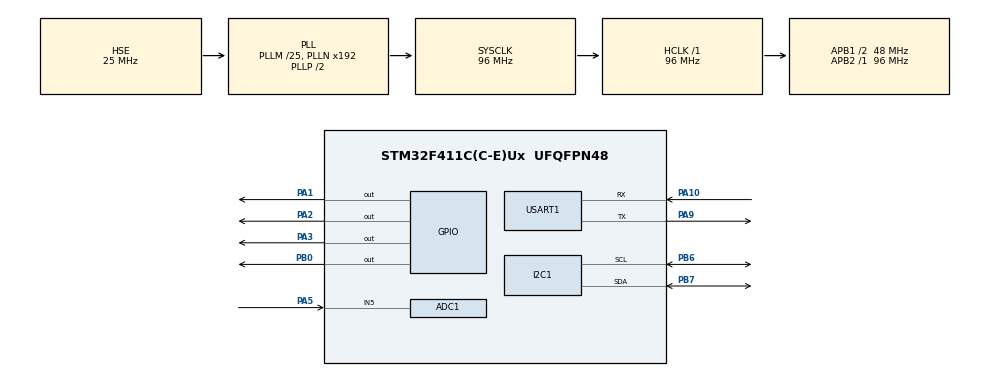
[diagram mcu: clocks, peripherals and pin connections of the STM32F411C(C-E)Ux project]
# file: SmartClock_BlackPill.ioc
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ADC1.Channel-0\#ChannelRegularConversion=ADC_CHANNEL_5
ADC1.NbrOfConversionFlag=1
ADC1.Rank-0\#ChannelRegularConversion=1
ADC1.SamplingTime-0\#ChannelRegularConversion=ADC_SAMPLETIME_480CYCLES
ADC1.master=1
I2C1.I2C_Mode=I2C_Fast
Mcu.Family=STM32F4
Mcu.Name=STM32F411C(C-E)Ux
Mcu.Package=UFQFPN48
NVIC.PriorityGroup=NVIC_PRIORITYGROUP_4
NVIC.TIM1_UP_TIM10_IRQn=true\:0\:0\:true\:false\:true\:true\:true\:true
PA1.Signal=GPIO_Output
PA10.Mode=Asynchronous
PA10.Signal=USART1_RX
PA2.Signal=GPIO_Output
PA3.Signal=GPIO_Output
PA5.Signal=ADCx_IN5
PA9.Mode=Asynchronous
PA9.Signal=USART1_TX
PB0.Signal=GPIO_Output
PB6.Mode=I2C
PB6.Signal=I2C1_SCL
PB7.Mode=I2C
PB7.Signal=I2C1_SDA
PH0\ -\ OSC_IN.Mode=HSE-External-Oscillator
PH0\ -\ OSC_IN.Signal=RCC_OSC_IN
PH1\ -\ OSC_OUT.Mode=HSE-External-Oscillator
PH1\ -\ OSC_OUT.Signal=RCC_OSC_OUT
ProjectManager.HeapSize=0x200
ProjectManager.StackSize=0x400
ProjectManager.TargetToolchain=STM32CubeIDE
RCC.48MHZClocksFreq_Value=48000000
RCC.AHBFreq_Value=96000000
RCC.APB1CLKDivider=RCC_HCLK_DIV2
RCC.APB1Freq_Value=48000000
RCC.APB1TimFreq_Value=96000000
RCC.APB2Freq_Value=96000000
RCC.APB2TimFreq_Value=96000000
RCC.CortexFreq_Value=96000000
RCC.HCLKFreq_Value=96000000
RCC.HSE_VALUE=25000000
RCC.HSI_VALUE=16000000
RCC.LSE_VALUE=32768
RCC.PLLM=25
RCC.PLLSourceVirtual=RCC_PLLSOURCE_HSE
RCC.SYSCLKFreq_VALUE=96000000
RCC.SYSCLKSource=RCC_SYSCLKSOURCE_PLLCLK
RCC.VCOOutputFreq_Value=192000000
SH.ADCx_IN5.0=ADC1_IN5,IN5
TIM10.Period=\ 1999
TIM10.Prescaler=95
USART1.VirtualMode=VM_ASYNC
VP_TIM10_VS_ClockSourceINT.Mode=Enable_Timer
board=custom

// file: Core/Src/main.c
/* USER CODE BEGIN Header */
/**
 ******************************************************************************
 * @file           : main.c
 * @brief          : Main program body
 ******************************************************************************
 * @attention
 *
 * Copyright (c) 2026 STMicroelectronics.
 * All rights reserved.
 *
 * This software is licensed under terms that can be found in the LICENSE file
 * in the root directory of this software component.
 * If no LICENSE file comes with this software, it is provided AS-IS.
 *
 ******************************************************************************
 */
/* USER CODE END Header */
#include "main.h"
#include "adc.h"
#include "i2c.h"
#include "tim.h"
#include "usart.h"
#include "gpio.h"

/* USER CODE BEGIN Includes */

#include "sensors.h"
#include "led_display.h"
#include "oled.h"
#include "menu.h"
#include "alarm.h"
#include "wifi.h"
#include "radio.h"
#include "led_menu.h"
#include <stdio.h>
#include <string.h>

/* USER CODE END Includes */

void SystemClock_Config(void);

/* USER CODE BEGIN 0 */

/* --- Battery level (PA5 / ADC1_IN5) --------------------------------------
 R1/R2 100k/100k divider off the raw battery net (B+/B-, tapped before
 the LX-2's boost converter) halves Vbat into ADC range, C1 100nF buffers
 the divider's high source impedance for the sample. Voltage->percent
 isn't linear for Li-ion, so it's a piecewise-linear fit over a measured
 discharge curve instead of a straight scale.

 BATTERY_CAL_SCALE corrects for real-board error the raw formula can't
 know about (R1/R2 tolerance, actual Vref vs the assumed 3.3V) - measured
 once against a multimeter: board read 3.20V computed while the pack was
 actually at 3.57V, so scale = 3.57 / 3.20. Re-measure and update this if
 R1/R2 ever get swapped for a different pair. */
#define BATTERY_CAL_SCALE 1.115f

static uint8_t battery_read_percent(void)
{
	static const struct {
		float v;
		uint8_t pct;
	} curve[] = { { 4.20f, 100 }, { 4.10f, 90 }, { 4.00f, 80 }, { 3.90f, 70 }, {
			3.80f, 60 }, { 3.70f, 45 }, { 3.60f, 25 }, { 3.50f, 15 },
			{ 3.30f, 5 }, { 3.20f, 0 }, };
	const int n = sizeof(curve) / sizeof(curve[0]);

	/* Average 16 samples instead of trusting a single conversion - the
	 divider's high source impedance makes one-shot readings noisy enough
	 to visibly jitter the displayed percent by a couple of points. */
	uint32_t sum = 0;
	for (int i = 0; i < 16; i++)
	{
		HAL_ADC_Start(&hadc1);
		HAL_StatusTypeDef status = HAL_ADC_PollForConversion(&hadc1, 10);
		sum += (status == HAL_OK) ? HAL_ADC_GetValue(&hadc1) : 0;
		HAL_ADC_Stop(&hadc1);
	}
	uint32_t raw = sum / 16;

	float v_bat = (raw / 4095.0f) * 3.3f * 2.0f * BATTERY_CAL_SCALE;

	if (v_bat >= curve[0].v)
		return curve[0].pct;
	if (v_bat <= curve[n - 1].v)
		return curve[n - 1].pct;

	for (int i = 0; i < n - 1; i++)
	{
		if (v_bat <= curve[i].v && v_bat >= curve[i + 1].v)
		{
			float span_v = curve[i].v - curve[i + 1].v;
			float span_p = (float) curve[i].pct - (float) curve[i + 1].pct;
			float frac = (v_bat - curve[i + 1].v) / span_v;
			return (uint8_t) (curve[i + 1].pct + frac * span_p);
		}
	}
	return 0;
}

/* --- Incoming link from ESP32 (TIME:/STATUS: lines) ---------------------
 USART1's NVIC interrupt wasn't enabled when USART1 was generated via
 CubeMX, so RX is polled from the main loop instead of interrupt-driven -
 same non-blocking style as everything else here. */

static void esp32_handle_line(const char *line)
{
	if (strncmp(line, "TIME:", 5) == 0)
	{
		int year, month, day, h, m, s;

		if (sscanf(line + 5, "%d-%d-%dT%d:%d:%d", &year, &month, &day, &h, &m,
				&s) == 6)
		{
			/* Sync the RTC once, right after boot - DS3231 has its own
			 crystal and battery backup, it doesn't need per-second
			 correction, just an initial anchor to real time. */
			static uint8_t rtc_synced = 0;

			if (!rtc_synced)
			{
				time_set((uint8_t) h, (uint8_t) m, (uint8_t) day,
						(uint8_t) month, (uint8_t) (year % 100));
				rtc_synced = 1;
			}
		}
	} else if (strncmp(line, "SETTIME:", 8) == 0)
	{
		/* Manual override from the ESP32 setup webpage's Date & Time card -
		 unlike TIME: above, this applies every time it arrives, not just
		 once, since the user might deliberately correct the clock again
		 later. */
		int year, month, day, h, m, s;

		if (sscanf(line + 8, "%d-%d-%dT%d:%d:%d", &year, &month, &day, &h,
				&m, &s) == 6)
		{
			time_set((uint8_t) h, (uint8_t) m, (uint8_t) day,
					(uint8_t) month, (uint8_t) (year % 100));
		}
	} else if (strncmp(line, "STATUS:", 7) == 0)
	{
		/* "WIFI_OK,RADIO_PLAY,<ssid>" or "WIFI_DOWN,RADIO_STOP," (ssid
		 empty while disconnected) - feeds the WiFi submenu's Status entry. */
		char wifi_state[16] = "";
		char radio_state[16] = "";
		char ssid_buf[32] = "";

		sscanf(line + 7, "%15[^,],%15[^,],%31[^\n]", wifi_state, radio_state,
				ssid_buf);

		wifi_connected_set(strcmp(wifi_state, "WIFI_OK") == 0);
		wifi_ssid_set(ssid_buf);
		radio_playing_set(strcmp(radio_state, "RADIO_PLAY") == 0);
	} else if (strncmp(line, "EQ:", 3) == 0)
	{
		int l0, l1, l2, l3;

		if (sscanf(line + 3, "%d,%d,%d,%d", &l0, &l1, &l2, &l3) == 4)
		{
			eq_level_set(0, (uint8_t) l0);
			eq_level_set(1, (uint8_t) l1);
			eq_level_set(2, (uint8_t) l2);
			eq_level_set(3, (uint8_t) l3);
		}
	} else if (strncmp(line, "SETUP_MODE:", 11) == 0)
	{
		uint8_t on = (uint8_t) (line[11] == '1');
		wifi_setup_mode_set(on);

		if (on)
		{
			/* ESP32 stops sending STATUS:/EQ: entirely while its own
			   loop() is busy running the setup AP - without this, WiFi/
			   radio state here would just stay frozen at whatever it was
			   right before setup mode started instead of reflecting
			   reality (nothing is connected or playing right now). */
			wifi_connected_set(0);
			radio_playing_set(0);
		}
	}
}

static void esp32_uart_poll(void)
{
	static char rx_line[40];
	static uint8_t rx_len = 0;

	if (__HAL_UART_GET_FLAG(&huart1, UART_FLAG_RXNE))
	{
		uint8_t c = (uint8_t) (huart1.Instance->DR & 0xFF);

		if (c == '\n')
		{
			rx_line[rx_len] = '\0';
			esp32_handle_line(rx_line);
			rx_len = 0;
		} else if (rx_len < sizeof(rx_line) - 1)
		{
			rx_line[rx_len++] = (char) c;
		}
		/* line too long - drop silently, rx_len stops growing until '\n' */
	}
}

void gpio_init(void)
{
	led_display_init();
}

/* USER CODE END 0 */

int main(void)
{

	/* MCU Configuration--------------------------------------------------------*/

	/* Reset of all peripherals, Initializes the Flash interface and the Systick. */
	HAL_Init();

	/* Configure the system clock */
	SystemClock_Config();

	/* Initialize all configured peripherals */
	MX_GPIO_Init();
	MX_TIM10_Init();
	MX_I2C1_Init();
	MX_USART1_UART_Init();
	MX_ADC1_Init();
	/* USER CODE BEGIN 2 */

	gpio_init();
	HAL_TIM_Base_Start_IT(&htim10);

	oled_init();

	sensors_init();
	led_menu_init();
	menu_init();

	/* slow-changing, so it's read on its own multi-second tick rather than
	 every clock redraw. battery_pct_f is a smoothed (EMA) running value -
	 the 16x-averaged reading from battery_read_percent() still moves a
	 point or two between updates, so this blends each new reading in
	 gradually instead of snapping the displayed number straight to it. */
	uint32_t battery_tick = 0;
	float battery_pct_f = (float) battery_read_percent();
	uint8_t battery_pct = (uint8_t) (battery_pct_f + 0.5f);

	char last_time[16] = "";

	/* USER CODE END 2 */

	/* Infinite loop */
	/* USER CODE BEGIN WHILE */
	while (1)
	{

		esp32_uart_poll();

		/* --- Encoder / button -> UI state --------------------------------
		 Runs every pass (not gated to any tick) so the menu feels
		 responsive to rotation/tap, independent of the 200 ms RTC poll. */
		{
			int32_t pos_delta = encoder_delta_get();

			if (alarm_is_ringing())
			{
				if (encoder_tapped_get())
				{
					alarm_stop();
					last_time[0] = '\0';

					const char *cmd = "ALARM_STOP:1\n";
					HAL_UART_Transmit(&huart1, (uint8_t*) cmd,
							(uint16_t) strlen(cmd), 100);
				}
			}
			else
			{
				if (encoder_tapped_get())
					menu_tap();

				menu_rotate(pos_delta);
			}

			menu_tick();
			menu_draw();

			if (menu_consume_clock_redraw())
				last_time[0] = '\0';
		}

		/* Sensors - heavy I2C work (AHT20 has a blocking HAL_Delay(80)).
		 Spread bmp280/aht20/bh1750 across three separate ticks instead of
		 doing them back-to-back in one block every second. BH1750 is in
		 continuous mode, so its read is just a 2-byte fetch - no delay. */

		sensors_poll();

		if (HAL_GetTick() - battery_tick >= 5000)
		{
			battery_tick = HAL_GetTick();
			battery_pct_f = battery_pct_f * 0.7f
					+ (float) battery_read_percent() * 0.3f;
			battery_pct = (uint8_t) (battery_pct_f + 0.5f);
		}

		static uint32_t last_read = 0;

		if (HAL_GetTick() - last_read >= 200)
		{
			last_read = HAL_GetTick();

			/* No-op unless Night Mode is on - lux_get() itself only
			   refreshes every ~2.1s (sensors_poll()'s round-robin), calling
			   this more often than that just re-applies the same smoothed
			   value, which is harmless. */
			led_night_mode_apply(lux_get());

			/* QR display is entirely menu.c's job (UI_WIFI_QR) - this loop
			   only needs to stay out of its way via menu_active() below. */
			if (!rtc_ok_get())
			{
				led_display_set_error();

				if (!menu_active())
				{
					oled_clear();
					oled_line_large(0, 24, "RTC ERROR");
					oled_flush();
				}
			} else
			{
				led_menu_tick();
				if (alarm_check(hour_get(), minute_get()))
				{
					char cmd[20];
					int len = sprintf(cmd, "ALARM_SOUND:%u\n",
							(unsigned) alarm_melody_get());
					HAL_UART_Transmit(&huart1, (uint8_t*) cmd,
							(uint16_t) len, 100);
				}

				char time_str[16];
				char date_str[16];

				sprintf(time_str, "%02d:%02d:%02d", hour_get(), minute_get(),
						second_get());

				if (alarm_is_ringing())
				{
					led_display_set_colon((HAL_GetTick() / 300) % 2);

					if (!menu_active())
					{
						oled_clear();
						oled_line_large(0, 20, "ALARM!");
						oled_line_small(0, 44, "tap to stop");
						oled_flush();
					}
				}
				else if (menu_active())
				{
					/* menu.c owns the OLED right now - leave it alone */
				}
				else if (strcmp(time_str, last_time) != 0)
				{
					strcpy(last_time, time_str);
					sprintf(date_str, "%02d.%02d.20%02d", day_get(),
							month_get(), year_get());

					char batt_str[8];
					sprintf(batt_str, "%3d%%", battery_pct);
					char sensor_str[16];

					oled_clear();
					oled_line_large(0, 0, time_str);
					oled_line_small(100, 4, batt_str);
					oled_line_small(0, 24, date_str);

					sprintf(sensor_str, "T:%.1fC H:%.0f%%", temperature_get(),
							humidity_get());
					oled_line_small(0, 38, sensor_str);

					sprintf(sensor_str, "P:%.0f L:%.0flx", pressure_get(),
							lux_get());
					oled_line_small(0, 52, sensor_str);
					oled_flush();
				}
			}
		}

		/* USER CODE END WHILE */

	}
}

void SystemClock_Config(void)
{
	RCC_OscInitTypeDef RCC_OscInitStruct = { 0 };
	RCC_ClkInitTypeDef RCC_ClkInitStruct = { 0 };

	/** Configure the main internal regulator output voltage
	 */
	__HAL_RCC_PWR_CLK_ENABLE();
	__HAL_PWR_VOLTAGESCALING_CONFIG(PWR_REGULATOR_VOLTAGE_SCALE1);

	/** Initializes the RCC Oscillators according to the specified parameters
	 * in the RCC_OscInitTypeDef structure.
	 */
	RCC_OscInitStruct.OscillatorType = RCC_OSCILLATORTYPE_HSE;
	RCC_OscInitStruct.HSEState = RCC_HSE_ON;
	RCC_OscInitStruct.PLL.PLLState = RCC_PLL_ON;
	RCC_OscInitStruct.PLL.PLLSource = RCC_PLLSOURCE_HSE;
	RCC_OscInitStruct.PLL.PLLM = 25;
	RCC_OscInitStruct.PLL.PLLN = 192;
	RCC_OscInitStruct.PLL.PLLP = RCC_PLLP_DIV2;
	RCC_OscInitStruct.PLL.PLLQ = 4;
	if (HAL_RCC_OscConfig(&RCC_OscInitStruct) != HAL_OK)
	{
		Error_Handler();
	}

	/** Initializes the CPU, AHB and APB buses clocks
	 */
	RCC_ClkInitStruct.ClockType = RCC_CLOCKTYPE_HCLK | RCC_CLOCKTYPE_SYSCLK
			| RCC_CLOCKTYPE_PCLK1 | RCC_CLOCKTYPE_PCLK2;
	RCC_ClkInitStruct.SYSCLKSource = RCC_SYSCLKSOURCE_PLLCLK;
	RCC_ClkInitStruct.AHBCLKDivider = RCC_SYSCLK_DIV1;
	RCC_ClkInitStruct.APB1CLKDivider = RCC_HCLK_DIV2;
	RCC_ClkInitStruct.APB2CLKDivider = RCC_HCLK_DIV1;

	if (HAL_RCC_ClockConfig(&RCC_ClkInitStruct, FLASH_LATENCY_3) != HAL_OK)
	{
		Error_Handler();
	}
}

void Error_Handler(void)
{
	__disable_irq();
	while (1)
	{
	}
}
